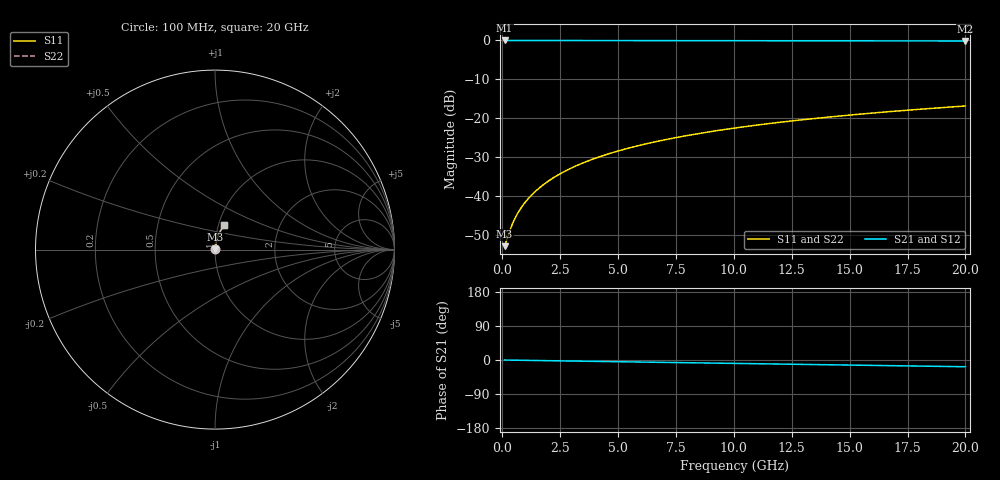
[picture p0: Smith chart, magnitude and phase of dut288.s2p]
! Touchstone file exported from HFSS 2026.1.0
!  File:  C:/ffzhzh/LocalFiles/Ansys_Project_Files/temp_train_BSMRDL_288_1782989249_40604.aedt
!  Generated:  06:48:45 PM Jul  2, 2026
!  Design:  BSMRDL
!  Project:  temp_train_BSMRDL_288_1782989249_40604
! Variables:
!  h_bsmrdl = 2.56um
!  h_ox = 20um
!  h_rdl = 5um
!  h_sub = 80um
!  h_tmrdl = 5um
!  h_tsv = 80um
!  h_via = 3um
!  l_bsmrdl = 257.15um
!  l_sub = 657.15um
!  l_tmrdl = 200um
!  m_sub = 200um
!  pitch = 32.97um
!  r_tsv = 6um
!  s_tmrdl = 10um
!  w_bsmrdl = 19.56um
!  w_sub = 500um
!  w_tmrdl = 12um
!  x_tsv_center1 = 206um
!  x_tsv_center2 = 482.71um
!  x_tsv_center3 = 694.71um
!  x_tsv_center4 = 971.42um
!  x_tsv_center5 = 1183.42um
!  x_tsv_center6 = 1460.13um
# GHz S MA R 50.000000
! Terminal data exported
! Port[1] = BSM_RDL1_1_T1
! Port[2] = BSM_RDL1_1_T2
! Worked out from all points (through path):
!   200 points, 100 MHz to 20 GHz, reference 50 ohm
!   highest |S21| = -0.02 dB at 100 MHz (marker M1); lowest = -0.2 dB at 20 GHz (marker M2)
!   group delay of S21, straight-line fit = 2.47 ps
!   lowest |S11| = -52.8 dB at 100 MHz (marker M3), VSWR 1.00, Z = 50.2 + j0.0895 ohm
!   |S11| at or under -10 dB: start of sweep to end of sweep
!   |S22| runs from -52.8 to -16.8 dB; largest |S21 - S12| = 2.1e-15
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0.1  0.002296 22.9  0.9979 -0.1  0.9979 -0.1  0.002296 22.9
! Gamma 0 0 0 0
! Port Impedance 50 0 50 0
0.3  0.003454 49.1  0.9977 -0.3  0.9977 -0.3  0.003454 49.1
0.4  0.00416 55.5  0.9976 -0.4  0.9976 -0.4  0.00416 55.5
0.5  0.00488 59.8  0.9976 -0.5  0.9976 -0.5  0.004881 59.8
0.6  0.005602 62.9  0.9975 -0.6  0.9975 -0.6  0.005602 62.9
0.7  0.006321 65.4  0.9974 -0.7  0.9974 -0.7  0.006321 65.4
0.9  0.007756 69.0  0.9973 -0.8  0.9973 -0.8  0.007756 69.0
1.2  0.009915 72.6  0.9972 -1.1  0.9972 -1.1  0.009916 72.6
1.4  0.01137 74.3  0.9971 -1.3  0.9971 -1.3  0.01137 74.3
1.7  0.01356 76.1  0.997 -1.6  0.997 -1.6  0.01356 76.1
2.2  0.01725 78.1  0.9969 -2.0  0.9969 -2.0  0.01725 78.1
2.8  0.02171 79.3  0.9967 -2.6  0.9967 -2.6  0.02171 79.3
3.5  0.02694 80.1  0.9965 -3.2  0.9965 -3.2  0.02694 80.1
4.2  0.03217 80.3  0.9962 -3.8  0.9962 -3.8  0.03217 80.3
5  0.03814 80.3  0.9958 -4.5  0.9958 -4.5  0.03814 80.3
5.9  0.04484 80.0  0.9954 -5.4  0.9954 -5.4  0.04484 80.0
6.8  0.0515 79.6  0.9948 -6.2  0.9948 -6.2  0.0515 79.6
8.3  0.06251 78.6  0.9938 -7.5  0.9938 -7.5  0.06251 78.6
10.1  0.07557 77.4  0.9925 -9.1  0.9925 -9.1  0.07557 77.3
13.4  0.09903 74.8  0.9896 -12.0  0.9896 -12.0  0.09903 74.8
16.7  0.1219 72.1  0.9862 -14.9  0.9862 -14.9  0.1219 72.1
20  0.1441 69.4  0.9825 -17.8  0.9825 -17.8  0.1441 69.4
